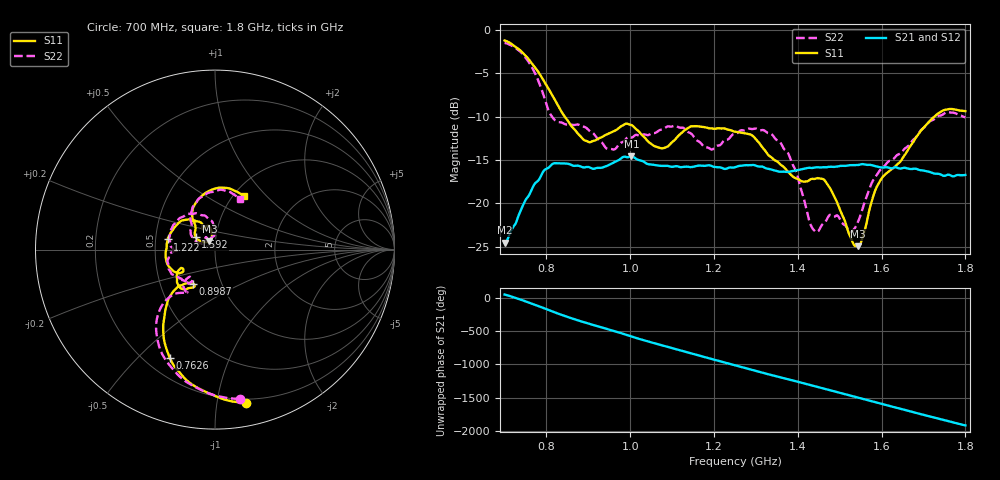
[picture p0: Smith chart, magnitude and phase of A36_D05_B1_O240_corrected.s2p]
! Created with skrf 1.9.0 (http://scikit-rf.org).
# Hz S RI R 50.0
!freq ReS11 ImS11 ReS21 ImS21 ReS12 ImS12 ReS22 ImS22
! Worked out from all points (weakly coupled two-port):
!   1601 points, 700 MHz to 1.8 GHz, reference 50 ohm
!   highest |S21| = -14.59 dB at 1.002 GHz (marker M1); lowest = -24.6 dB at 700 MHz (marker M2)
!   lowest |S11| = -25.0 dB at 1.544 GHz (marker M3), VSWR 1.12, Z = 46.8 + j4.46 ohm
!   |S11| at or under -10 dB: 843.4 MHz to 1.726 GHz (882.4 MHz wide, 68.7 % of centre)
!   |S22| runs from -23.3 to -1.5 dB; largest |S21 - S12| = 0.0034
!   S11 on the Smith chart (normalised r, x): 700 MHz: 0.17, -1.21; 762.6 MHz: 0.30, -0.62; 898.7 MHz: 0.73, -0.29; 1.222 GHz: 0.58, +0.07; 1.592 GHz: 0.80, +0.11; 1.8 GHz: 1.12, +0.76
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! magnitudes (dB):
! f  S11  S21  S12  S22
! 700 MHz  -1.2  -24.6  -24.3  -1.5
! 762.6 MHz  -3.7  -18.7  -18.6  -4.1
! 816.2 MHz  -7.7  -15.4  -15.5  -10.2
! 883.6 MHz  -12.4  -15.8  -15.7  -11.1
! 898.7 MHz  -12.9  -15.8  -15.9  -11.5
! 947.5 MHz  -12.0  -15.6  -15.6  -13.7
! 1.002 GHz  -11.0  -14.6  -14.7  -12.4
! 1.067 GHz  -13.6  -15.7  -15.6  -11.6
! 1.145 GHz  -11.1  -15.8  -15.8  -11.9
! 1.192 GHz  -11.4  -15.7  -15.7  -13.8
! 1.222 GHz  -11.4  -16.0  -16.0  -12.8
! 1.25 GHz  -11.7  -15.8  -15.8  -12.0
! 1.357 GHz  -15.5  -16.4  -16.3  -12.9
! 1.395 GHz  -17.1  -16.2  -16.2  -16.3
! 1.434 GHz  -17.2  -15.9  -15.9  -22.8
! 1.47 GHz  -17.8  -15.8  -15.8  -21.8
! 1.526 GHz  -23.9  -15.6  -15.6  -23.3
! 1.544 GHz  -25.0  -15.6  -15.5  -22.1
! 1.592 GHz  -17.8  -15.8  -15.8  -16.5
! 1.617 GHz  -16.3  -15.9  -15.9  -15.2
! 1.732 GHz  -9.7  -16.6  -16.6  -10.0
! 1.8 GHz  -9.4  -16.7  -16.7  -10.1
